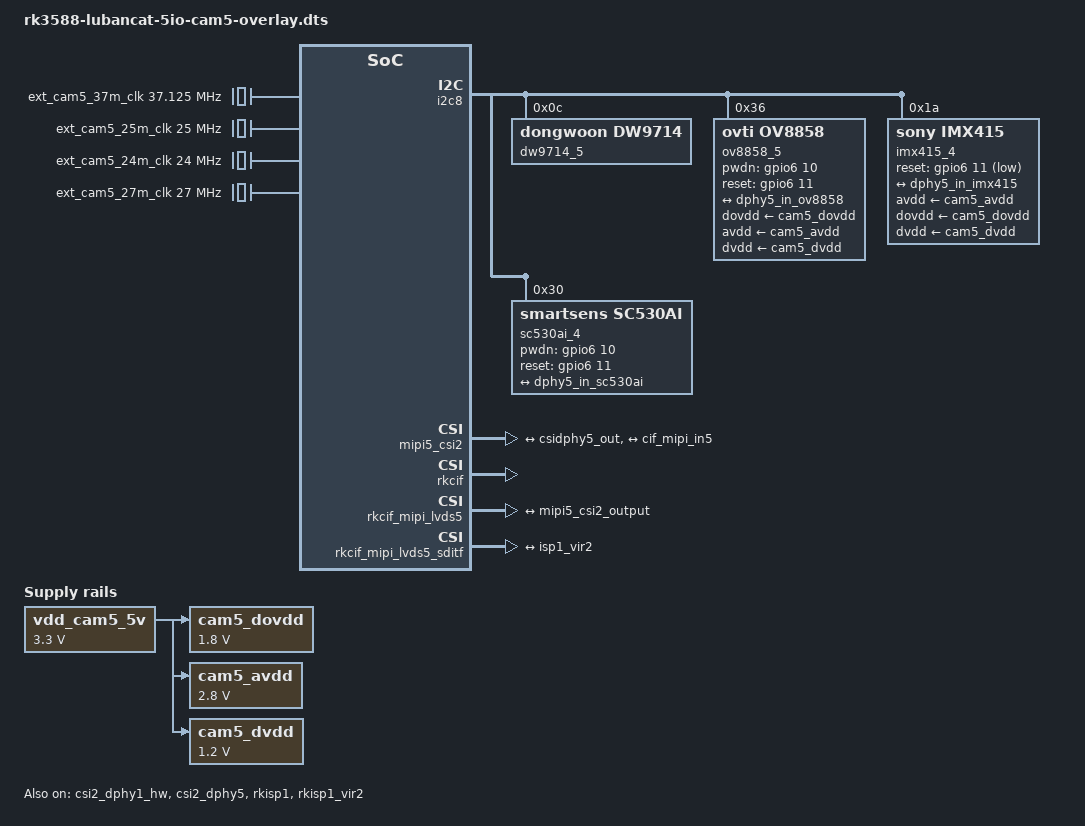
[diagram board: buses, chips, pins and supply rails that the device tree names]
/dts-v1/;
/plugin/;

#include <dt-bindings/usb/pd.h>
#include <dt-bindings/gpio/gpio.h>
#include <dt-bindings/pwm/pwm.h>
#include <dt-bindings/pinctrl/rockchip.h>
#include <dt-bindings/input/rk-input.h>
#include <dt-bindings/display/drm_mipi_dsi.h>
#include <dt-bindings/display/rockchip_vop.h>
#include <dt-bindings/sensor-dev.h>

/ {
	fragment@0 {
		target-path = "/";

		__overlay__ {
			ext_cam5_37m_clk: external-camera-37m-clock {
				compatible = "fixed-clock";
				clock-frequency = <37125000>;
				clock-output-names = "ext_cam5_37m_clk";
				#clock-cells = <0>;
			};

			ext_cam5_25m_clk: external-camera-25m-clock {
				compatible = "fixed-clock";
				clock-frequency = <25000000>;
				clock-output-names = "ext_cam5_25m_clk";
				#clock-cells = <0>;
			};

			ext_cam5_24m_clk: external-camera-24m-clock {
				compatible = "fixed-clock";
				#clock-cells = <0>;
				clock-frequency = <24000000>;
				clock-output-names = "ext_cam5_24m_clk";
			};

			ext_cam5_27m_clk: external-camera-27m-clock {
				compatible = "fixed-clock";
				#clock-cells = <0>;
				clock-frequency = <27000000>;
				clock-output-names = "ext_cam5_27m_clk";
			};

			vdd_cam5_5v: vdd-cam5-5v-regulator {
				compatible = "regulator-fixed";
				regulator-name = "vdd_cam5_5v";
				regulator-always-on;
				regulator-boot-on;
				regulator-min-microvolt = <3300000>;
				regulator-max-microvolt = <3300000>;
			};

			cam5_dovdd: cam5-dovdd {
				compatible = "regulator-fixed";
				regulator-name = "cam5_dovdd";
				regulator-always-on;
				regulator-boot-on;
				regulator-min-microvolt = <1800000>;
				regulator-max-microvolt = <1800000>;
				vin-supply = <&vdd_cam5_5v>;
			};

			cam5_avdd: cam5-avdd {
				compatible = "regulator-fixed";
				regulator-name = "cam5_avdd";
				regulator-always-on;
				regulator-boot-on;
				regulator-min-microvolt = <2800000>;
				regulator-max-microvolt = <2800000>;
				vin-supply = <&vdd_cam5_5v>;
			};

			cam5_dvdd: cam5-dvdd {
				compatible = "regulator-fixed";
				regulator-name = "cam5_dvdd";
				regulator-always-on;
				regulator-boot-on;
				regulator-min-microvolt = <1200000>;
				regulator-max-microvolt = <1200000>;
				vin-supply = <&vdd_cam5_5v>;
			};
		};
	};

	/* Link path: sensor->csi2_dphy5->mipi5_csi2->rkcif_mipi_lvds5--->rkcif_mipi_lvds5_sditf->rkisp0_vir2 */
	fragment@1 {
		target = <&i2c8>;

		__overlay__ {
			status = "okay";
			pinctrl-names = "default";
			pinctrl-0 = <&i2c8m2_xfer>;
			#address-cells = <1>;
			#size-cells = <0>;

			dw9714_5: dw9714-5@c {
				status = "okay";
				compatible = "dongwoon,dw9714";
				reg = <0xc>;
				rockchip,camera-module-index = <5>;
				rockchip,vcm-max-current = <100>;
				rockchip,vcm-start-current = <0>;
				rockchip,vcm-rated-current = <100>;
				rockchip,vcm-step-mode = <0xd>;
				rockchip,vcm-dlc-enable = <0>;
				rockchip,vcm-mclk = <0>;
				rockchip,vcm-t-src = <0>;
				rockchip,camera-module-facing = "back";
			};

			ov5647_5: ov5647-5@36 {
				compatible = "ovti,ov5647";
				status = "disabled";
				reg = <0x36>;
				clocks = <&ext_cam5_25m_clk>;
				clock-names = "ext_cam_25m_clk";
				pwdn-gpios = <&gpio6 10 GPIO_ACTIVE_LOW>;
				lens-focus = <&dw9714_5>;
				port {
					ov5647_out5: endpoint {
						remote-endpoint = <&dphy5_in_ov5647>;
						data-lanes = <1 2>;
					};
				};
			};

			ov5648_5: ov5648-5@36 {
				compatible = "ovti,ov5648";
				status = "disabled";
				reg = <0x36>;
				clocks = <&ext_cam5_24m_clk>;
				clock-names = "xvclk";
				dovdd-supply= <&cam5_dovdd>; /* 1.8v */
				avdd-supply = <&cam5_avdd>;  /* 2.8v */
				dvdd-supply = <&cam5_dvdd>;  /* 1.2v */
				pwdn-gpios = <&gpio6 10 GPIO_ACTIVE_HIGH>;
				reset-gpios = <&gpio6 11 GPIO_ACTIVE_LOW>;
				rotation = <180>;

				rockchip,camera-module-index = <5>;
				rockchip,camera-module-facing = "back";
				rockchip,camera-module-name = "THDS11073";
				rockchip,camera-module-lens-name = "Largan-40122a1";
				lens-focus = <&dw9714_5>;
				port {
					/* MIPI CSI-2 bus endpoint */
					ov5648_out5: endpoint {
						remote-endpoint = <&dphy5_in_ov5648>;
						clock-lanes = <0>;
						data-lanes = <1 2>;
					};
				};
			};

			ov8858_5: ov8858-5@36 {
				compatible = "ovti,ov8858";
				status = "okay";
				reg = <0x36>;
				clocks = <&ext_cam5_24m_clk>;
				clock-names = "xvclk";
				dovdd-supply= <&cam5_dovdd>; /* 1.8v */
				avdd-supply = <&cam5_avdd>;  /* 2.8v */
				dvdd-supply = <&cam5_dvdd>;  /* 1.2v */
				pwdn-gpios = <&gpio6 10 GPIO_ACTIVE_HIGH>;
				reset-gpios = <&gpio6 11 GPIO_ACTIVE_HIGH>;
				rotation = <180>;

				rockchip,camera-module-index = <5>;
				rockchip,camera-module-facing = "back";
				rockchip,camera-module-name = "HS5885-BNSM1018-V01";
				rockchip,camera-module-lens-name = "default";
				lens-focus = <&dw9714_5>;
				port {
					/* MIPI CSI-2 bus endpoint */
					ov8858_out5: endpoint {
						remote-endpoint = <&dphy5_in_ov8858>;
						clock-lanes = <0>;
						data-lanes = <1 2>;
					};
				};
			};

			ov13850_5: ov13850-5@10 {
				compatible = "ovti,ov13850";
				status = "disabled";
				reg = <0x10>;
				clocks = <&ext_cam5_24m_clk>;
				clock-names = "xvclk";
				dovdd-supply= <&cam5_dovdd>; /* 1.8v */
				avdd-supply = <&cam5_avdd>;  /* 2.8v */
				dvdd-supply = <&cam5_dvdd>;  /* 1.2v */
				pwdn-gpios = <&gpio6 10 GPIO_ACTIVE_HIGH>;
				reset-gpios = <&gpio6 11 GPIO_ACTIVE_HIGH>;
				rotation = <180>;
				rockchip,camera-module-index = <5>;
				rockchip,camera-module-facing = "back";
				rockchip,camera-module-name = "ZC-OV13850R2A-V1";
				rockchip,camera-module-lens-name = "Largan-50064B31";
				lens-focus = <&dw9714_5>;
				port {
					/* MIPI CSI-2 bus endpoint */
					ov13850_out5: endpoint {
						remote-endpoint = <&dphy5_in_ov13850>;
						clock-lanes = <0>;
						data-lanes = <1 2>;
					};
				};
			};

			imx415_4: imx415-4@1a {
				compatible = "sony,imx415";
				status = "okay";
				reg = <0x1a>;
				clocks = <&ext_cam5_37m_clk>;
				clock-names = "xvclk";
				avdd-supply = <&cam5_avdd>;
				dovdd-supply = <&cam5_dovdd>;
				dvdd-supply = <&cam5_dvdd>;
				reset-gpios = <&gpio6 11 GPIO_ACTIVE_LOW>;

				rockchip,camera-module-index = <5>;
				rockchip,camera-module-facing = "back";
				rockchip,camera-module-name = "CMK-OT2022-PX1";
				rockchip,camera-module-lens-name = "IR0147-50IRC-8M-F20";
				port {
					imx415_out5: endpoint {
						remote-endpoint = <&dphy5_in_imx415>;
						clock-lanes = <0>;
						data-lanes = <1 2>;
					};
				};
			};

			sc530ai_4: sc530ai-4@30 {
				compatible = "smartsens,sc530ai";
				status = "okay";
				reg = <0x30>;
				clocks = <&ext_cam5_24m_clk>;
				clock-names = "xvclk";
				pwdn-gpios = <&gpio6 10 GPIO_ACTIVE_HIGH>;
				reset-gpios = <&gpio6 11 GPIO_ACTIVE_HIGH>;
				rockchip,camera-module-index = <5>;
				rockchip,camera-module-facing = "back";
				rockchip,camera-module-name = "CMK-OT2115-PC1";
				rockchip,camera-module-lens-name = "30IRC-F16";
				rotation = <180>;

				port {
					sc530ai_out5: endpoint {
						remote-endpoint = <&dphy5_in_sc530ai>;
						clock-lanes = <0>;
						data-lanes = <1 2>;
					};
				};
			};
		};
	};

	fragment@2 {
		target = <&csi2_dphy1_hw>;

		__overlay__ {
			status = "okay";
		};
	};

	fragment@3 {
		target = <&csi2_dphy5>;

		__overlay__ {
			status = "okay";

			ports {
				#address-cells = <1>;
				#size-cells = <0>;
				port@0 {
					reg = <0>;
					#address-cells = <1>;
					#size-cells = <0>;
					dphy5_in_ov5648: endpoint@1 {
						reg = <1>;
						remote-endpoint = <&ov5648_out5>;
						data-lanes = <1 2>;
					};
					dphy5_in_ov8858: endpoint@2 {
						reg = <2>;
						remote-endpoint = <&ov8858_out5>;
						data-lanes = <1 2>;
					};
					dphy5_in_ov13850: endpoint@3 {
						reg = <3>;
						remote-endpoint = <&ov13850_out5>;
						data-lanes = <1 2>;
					};
					dphy5_in_ov5647: endpoint@4 {
						reg = <4>;
						remote-endpoint = <&ov5647_out5>;
						data-lanes = <1 2>;
					};
					dphy5_in_imx415: endpoint@5 {
						reg = <5>;
						remote-endpoint = <&imx415_out5>;
						data-lanes = <1 2>;
					};
					dphy5_in_sc530ai: endpoint@6 {
						reg = <6>;
						remote-endpoint = <&sc530ai_out5>;
						data-lanes = <1 2>;
					};
				};
				port@1 {
					reg = <1>;
					#address-cells = <1>;
					#size-cells = <0>;
					csidphy5_out: endpoint@0 {
						reg = <0>;
						remote-endpoint = <&mipi5_csi2_input>;
					};
				};
			};
		};
	};

	fragment@4 {
		target = <&mipi5_csi2>;

		__overlay__ {
			status = "okay";

			ports {
				#address-cells = <1>;
				#size-cells = <0>;
				port@0 {
					reg = <0>;
					#address-cells = <1>;
					#size-cells = <0>;
					mipi5_csi2_input: endpoint@1 {
						reg = <1>;
						remote-endpoint = <&csidphy5_out>;
					};
				};
				port@1 {
					reg = <1>;
					#address-cells = <1>;
					#size-cells = <0>;
					mipi5_csi2_output: endpoint@0 {
						reg = <0>;
						remote-endpoint = <&cif_mipi_in5>;
					};
				};
			};
		};
	};

	fragment@5 {
		target = <&rkcif>;

		__overlay__ {
			status = "okay";
		};
	};

	fragment@6 {
		target = <&rkcif_mipi_lvds5>;

		__overlay__ {
			status = "okay";

			port {
				cif_mipi_in5: endpoint {
					remote-endpoint = <&mipi5_csi2_output>;
				};
			};
		};
	};

	fragment@7 {
		target = <&rkcif_mipi_lvds5_sditf>;

		__overlay__ {
			status = "okay";

			port {
				mipi_lvds5_sditf: endpoint {
					remote-endpoint = <&isp1_vir2>;
				};
			};
		};
	};

	fragment@8 {
		target = <&rkcif_mmu>;

		__overlay__ {
			status = "okay";
		};
	};

	fragment@9 {
		target = <&rkisp1>;

		__overlay__ {
			status = "okay";
		};
	};

	fragment@10 {
		target = <&isp1_mmu>;

		__overlay__ {
			status = "okay";
		};
	};

	fragment@11 {
		target = <&rkisp1_vir2>;

		__overlay__ {
			status = "okay";

			port {
				#address-cells = <1>;
				#size-cells = <0>;
				isp1_vir2: endpoint@0 {
					reg = <0>;
					remote-endpoint = <&mipi_lvds5_sditf>;
				};
			};
		};
	};
};
